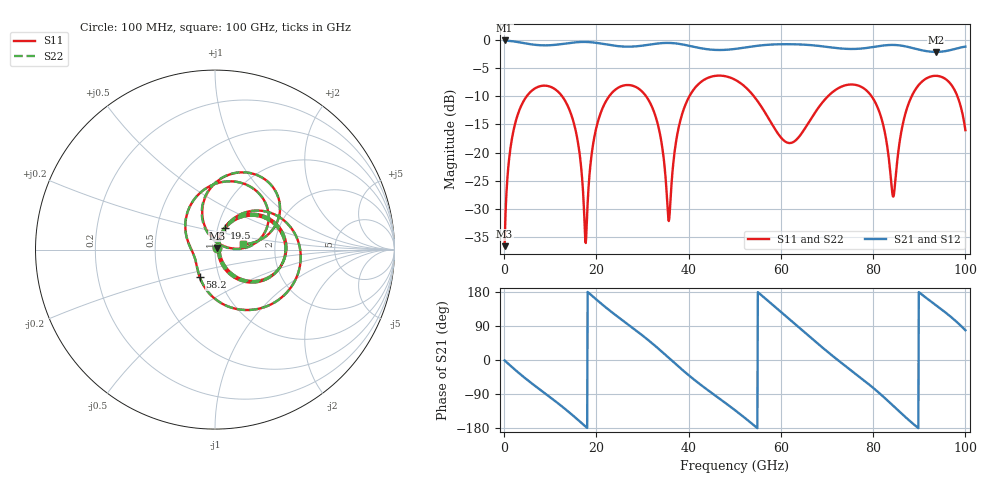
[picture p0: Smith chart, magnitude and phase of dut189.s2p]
! Touchstone file exported from HFSS 2026.1.0
!  File:  C:/ffzhzh/LocalFiles/Ansys_Project_Files/temp_test_TSV_RDL_189_1783478128_33644.aedt
!  Generated:  10:45:45 AM Jul  8, 2026
!  Design:  TSV_RDL
!  Project:  temp_test_TSV_RDL_189_1783478128_33644
! Variables:
!  h_bsmrdl = 4.67um
!  h_ox = 20um
!  h_rdl = 5um
!  h_sub = 83.48um
!  h_tmrdl = 3.27um
!  h_tsv = 83.48um
!  h_via = 3um
!  l_bsmrdl = 665.87um
!  l_sub = 3261.87um
!  l_tmrdl = 181.76um
!  m_sub = 200um
!  pitch = 43.4um
!  r_tsv = 9.87um
!  s_tmrdl = 10um
!  w_bsmrdl = 23.33um
!  w_sub = 500um
!  w_tmrdl = 22.41um
!  x_tsv_center1 = 192.965um
!  x_tsv_center2 = 882.165um
!  x_tsv_center3 = 1086.335um
!  x_tsv_center4 = 1775.535um
!  x_tsv_center5 = 1979.705um
!  x_tsv_center6 = 2668.905um
# GHz S MA R 50.000000
! Terminal data exported
! Port[1] = TM_RDL1_1_T1
! Port[2] = TM_RDL5_1_T1
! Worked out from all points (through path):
!   1000 points, 100 MHz to 100 GHz, reference 50 ohm
!   highest |S21| = -0.10 dB at 100 MHz (marker M1); lowest = -2.1 dB at 93.6 GHz (marker M2)
!   group delay of S21, straight-line fit = 27.7 ps
!   lowest |S11| = -36.6 dB at 100 MHz (marker M3), VSWR 1.03, Z = 51.2 + j0.908 ohm
!   |S11| at or under -10 dB: 12.56 GHz to 22.77 GHz (10.21 GHz wide, 57.8 % of centre); 30.77 GHz to 40.17 GHz (9.392 GHz wide, 26.5 % of centre); 54.14 GHz to 70.21 GHz (16.07 GHz wide, 25.8 % of centre) (the widest 3 of 6)
!   |S22| runs from -36.6 to -6.3 dB; largest |S21 - S12| = 2e-14
!   S11 on the Smith chart (normalised r, x): 100 MHz: 1.02, +0.02; 19.5 GHz: 1.08, +0.27; 58.2 GHz: 0.81, -0.25; 100 GHz: 1.36, +0.08
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0.1  0.01477 36.9  0.9883 -1.2  0.9883 -1.2  0.01477 36.9
! Gamma 0 0 0 0
! Port Impedance 50 0 50 0
2.1  0.1619 60.9  0.9693 -22.9  0.9693 -22.9  0.1619 60.9
6.5  0.367 20.3  0.9061 -66.5  0.9061 -66.5  0.3671 20.3
13.3  0.284 -40.2  0.9278 -130.0  0.9278 -130.0  0.284 -40.1
16.8  0.06653 -65.2  0.9587 -166.4  0.9587 -166.4  0.06669 -64.9
17.8  0.0183 32.1  0.9586 -177.1  0.9586 -177.1  0.01858 31.3
19.5  0.1337 66.3  0.9468 164.7  0.9468 164.7  0.1336 66.2
26.5  0.3973 5.5  0.8707 97.0  0.8707 97.0  0.3973 5.4
33.4  0.1725 -53.8  0.9296 30.4  0.9296 30.4  0.1724 -53.9
35.7  0.02469 4.5  0.9397 5.6  0.9397 5.6  0.02479 4.7
40.1  0.3127 44.0  0.8862 -41.1  0.8862 -41.1  0.3128 44.0
50.1  0.4422 -42.1  0.8315 -132.9  0.8315 -132.9  0.4423 -42.2
58.2  0.1752 -119.2  0.9101 145.7  0.9101 145.7  0.1753 -118.8
62.5  0.1229 -167.8  0.9148 100.6  0.9148 100.6  0.1229 -167.0
66.7  0.2046 143.8  0.897 56.6  0.897 56.6  0.2043 144.3
74.3  0.3983 70.3  0.8321 -18.8  0.8321 -18.8  0.398 70.3
80.2  0.2917 18.8  0.8669 -75.5  0.8669 -75.5  0.2913 18.5
83.4  0.08869 5.1  0.9004 -110.0  0.9004 -110.0  0.08744 3.6
84.5  0.04236 72.8  0.9017 -122.5  0.9017 -122.5  0.03965 74.1
88  0.2933 101.0  0.8574 -161.4  0.8574 -161.4  0.293 101.6
93.6  0.4799 54.2  0.7819 144.7  0.7819 144.7  0.4799 54.4
100  0.1581 11.0  0.8715 78.5  0.8715 78.5  0.1582 11.1
